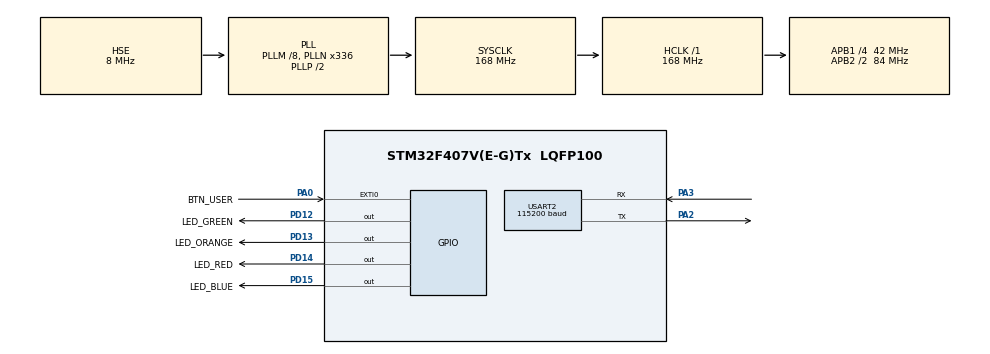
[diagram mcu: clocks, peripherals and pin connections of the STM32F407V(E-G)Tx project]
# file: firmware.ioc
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Dma.Request0=USART2_TX
Dma.USART2_TX.0.Direction=DMA_MEMORY_TO_PERIPH
Dma.USART2_TX.0.FIFOMode=DMA_FIFOMODE_DISABLE
Dma.USART2_TX.0.Instance=DMA1_Stream6
Dma.USART2_TX.0.MemDataAlignment=DMA_MDATAALIGN_BYTE
Dma.USART2_TX.0.MemInc=DMA_MINC_ENABLE
Dma.USART2_TX.0.Mode=DMA_NORMAL
Dma.USART2_TX.0.PeriphDataAlignment=DMA_PDATAALIGN_BYTE
Dma.USART2_TX.0.PeriphInc=DMA_PINC_DISABLE
Dma.USART2_TX.0.Priority=DMA_PRIORITY_LOW
FREERTOS.INCLUDE_uxTaskGetStackHighWaterMark=1
FREERTOS.Tasks01=defaultTask,24,128,StartDefaultTask,Default,NULL,Dynamic,NULL,NULL
FREERTOS.configCHECK_FOR_STACK_OVERFLOW=2
FREERTOS.configTICK_RATE_HZ=1000
FREERTOS.configTOTAL_HEAP_SIZE=20480
FREERTOS.configUSE_MALLOC_FAILED_HOOK=1
FREERTOS.configUSE_NEWLIB_REENTRANT=1
FREERTOS.configUSE_OS2_TIMER=0
FREERTOS.configUSE_TIMERS=0
Mcu.Family=STM32F4
Mcu.Name=STM32F407V(E-G)Tx
Mcu.Package=LQFP100
NVIC.DMA1_Stream6_IRQn=true\:5\:0\:false\:false\:true\:true\:false\:true\:true
NVIC.EXTI0_IRQn=true\:5\:0\:false\:false\:true\:true\:true\:true\:true
NVIC.PriorityGroup=NVIC_PRIORITYGROUP_4
NVIC.TIM6_DAC_IRQn=true\:15\:0\:false\:false\:true\:false\:false\:true\:true
NVIC.TimeBase=TIM6_DAC_IRQn
NVIC.TimeBaseIP=TIM6
NVIC.USART2_IRQn=true\:5\:0\:false\:false\:true\:true\:true\:true\:true
PA0-WKUP.GPIO_Label=BTN_USER
PA0-WKUP.GPIO_ModeDefaultEXTI=GPIO_MODE_IT_RISING
PA0-WKUP.GPIO_PuPd=GPIO_NOPULL
PA0-WKUP.Signal=GPXTI0
PA13.Mode=Serial_Wire
PA13.Signal=SYS_JTMS-SWDIO
PA14.Mode=Serial_Wire
PA14.Signal=SYS_JTCK-SWCLK
PA2.Mode=Asynchronous
PA2.Signal=USART2_TX
PA3.Mode=Asynchronous
PA3.Signal=USART2_RX
PD12.GPIO_Label=LED_GREEN
PD12.Signal=GPIO_Output
PD13.GPIO_Label=LED_ORANGE
PD13.Signal=GPIO_Output
PD14.GPIO_Label=LED_RED
PD14.Signal=GPIO_Output
PD15.GPIO_Label=LED_BLUE
PD15.Signal=GPIO_Output
PH0-OSC_IN.Mode=HSE-External-Oscillator
PH0-OSC_IN.Signal=RCC_OSC_IN
PH1-OSC_OUT.Mode=HSE-External-Oscillator
PH1-OSC_OUT.Signal=RCC_OSC_OUT
ProjectManager.HeapSize=0x200
ProjectManager.StackSize=0x400
ProjectManager.TargetToolchain=CMake
RCC.48MHZClocksFreq_Value=48000000
RCC.AHBFreq_Value=168000000
RCC.APB1CLKDivider=RCC_HCLK_DIV4
RCC.APB1Freq_Value=42000000
RCC.APB1TimFreq_Value=84000000
RCC.APB2CLKDivider=RCC_HCLK_DIV2
RCC.APB2Freq_Value=84000000
RCC.APB2TimFreq_Value=168000000
RCC.CortexFreq_Value=168000000
RCC.HCLKFreq_Value=168000000
RCC.HSE_VALUE=8000000
RCC.HSI_VALUE=16000000
RCC.LSE_VALUE=32768
RCC.PLLM=8
RCC.PLLN=336
RCC.PLLQ=7
RCC.PLLSourceVirtual=RCC_PLLSOURCE_HSE
RCC.SYSCLKFreq_VALUE=168000000
RCC.SYSCLKSource=RCC_SYSCLKSOURCE_PLLCLK
RCC.VCOOutputFreq_Value=336000000
TIM2.Period=4294967295
TIM2.Prescaler=83
USART2.BaudRate=115200
USART2.VirtualMode=VM_ASYNC
VP_FREERTOS_VS_CMSIS_V2.Mode=CMSIS_V2
VP_SYS_VS_tim6.Mode=TIM6
VP_TIM2_VS_ClockSourceINT.Mode=Internal
board=custom

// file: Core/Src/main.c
/* USER CODE BEGIN Header */
/**
  ******************************************************************************
  * @file           : main.c
  * @brief          : Main program body
  ******************************************************************************
  * @attention
  *
  * Copyright (c) 2026 STMicroelectronics.
  * All rights reserved.
  *
  * This software is licensed under terms that can be found in the LICENSE file
  * in the root directory of this software component.
  * If no LICENSE file comes with this software, it is provided AS-IS.
  *
  ******************************************************************************
  */
/* USER CODE END Header */
#include "main.h"
#include "cmsis_os.h"
#include "dma.h"
#include "tim.h"
#include "usart.h"
#include "gpio.h"

/* USER CODE BEGIN Includes */
#include "hw_selftest.h"
#include "app_tasks.h"
/* USER CODE END Includes */

void SystemClock_Config(void);
void MX_FREERTOS_Init(void);

int main(void)
{

  /* MCU Configuration--------------------------------------------------------*/

  /* Reset of all peripherals, Initializes the Flash interface and the Systick. */
  HAL_Init();

  /* Configure the system clock */
  SystemClock_Config();

  /* Initialize all configured peripherals */
  MX_GPIO_Init();
  MX_DMA_Init();
  MX_USART2_UART_Init();
  MX_TIM2_Init();
  /* USER CODE BEGIN 2 */
#if HW_SELFTEST
  /* Donanım öz-testi (T-03 / T-04). Burada çağrılmasının nedeni: çevre birimleri
   * kurulmuş, FreeRTOS ise henüz başlamamıştır. MX_FREERTOS_Init() içindeki
   * çekirdek çağrıları BASEPRI'yi yükseltip HAL tick kesmesini (öncelik 15)
   * maskeleyeceği için HAL_Delay() sonrasında kilitlenirdi. Geri dönmez. */
  hw_selftest_run();
#endif
  /* TIM2'yi başlat, kayıt defteri öz-testini koş (T-05). Scheduler öncesi. */
  app_init_early();
  /* USER CODE END 2 */

  /* Init scheduler */
  osKernelInitialize();  /* Call init function for freertos objects (in cmsis_os2.c) */
  MX_FREERTOS_Init();

  /* Start scheduler */
  osKernelStart();

  /* We should never get here as control is now taken by the scheduler */

  /* Infinite loop */
  while (1)
  {

  }
}

void SystemClock_Config(void)
{
  RCC_OscInitTypeDef RCC_OscInitStruct = {0};
  RCC_ClkInitTypeDef RCC_ClkInitStruct = {0};

  /** Configure the main internal regulator output voltage
  */
  __HAL_RCC_PWR_CLK_ENABLE();
  __HAL_PWR_VOLTAGESCALING_CONFIG(PWR_REGULATOR_VOLTAGE_SCALE1);

  /** Initializes the RCC Oscillators according to the specified parameters
  * in the RCC_OscInitTypeDef structure.
  */
  RCC_OscInitStruct.OscillatorType = RCC_OSCILLATORTYPE_HSE;
  RCC_OscInitStruct.HSEState = RCC_HSE_ON;
  RCC_OscInitStruct.PLL.PLLState = RCC_PLL_ON;
  RCC_OscInitStruct.PLL.PLLSource = RCC_PLLSOURCE_HSE;
  RCC_OscInitStruct.PLL.PLLM = 8;
  RCC_OscInitStruct.PLL.PLLN = 336;
  RCC_OscInitStruct.PLL.PLLP = RCC_PLLP_DIV2;
  RCC_OscInitStruct.PLL.PLLQ = 7;
  if (HAL_RCC_OscConfig(&RCC_OscInitStruct) != HAL_OK)
  {
    Error_Handler();
  }

  /** Initializes the CPU, AHB and APB buses clocks
  */
  RCC_ClkInitStruct.ClockType = RCC_CLOCKTYPE_HCLK|RCC_CLOCKTYPE_SYSCLK
                              |RCC_CLOCKTYPE_PCLK1|RCC_CLOCKTYPE_PCLK2;
  RCC_ClkInitStruct.SYSCLKSource = RCC_SYSCLKSOURCE_PLLCLK;
  RCC_ClkInitStruct.AHBCLKDivider = RCC_SYSCLK_DIV1;
  RCC_ClkInitStruct.APB1CLKDivider = RCC_HCLK_DIV4;
  RCC_ClkInitStruct.APB2CLKDivider = RCC_HCLK_DIV2;

  if (HAL_RCC_ClockConfig(&RCC_ClkInitStruct, FLASH_LATENCY_5) != HAL_OK)
  {
    Error_Handler();
  }
}

void HAL_TIM_PeriodElapsedCallback(TIM_HandleTypeDef *htim)
{
  if (htim->Instance == TIM6)
  {
    HAL_IncTick();
  }
}

void Error_Handler(void)
{
  __disable_irq();
  while (1)
  {
  }
}

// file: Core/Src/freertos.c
/* USER CODE BEGIN Header */
/**
  ******************************************************************************
  * File Name          : freertos.c
  * Description        : Code for freertos applications
  ******************************************************************************
  * @attention
  *
  * Copyright (c) 2026 STMicroelectronics.
  * All rights reserved.
  *
  * This software is licensed under terms that can be found in the LICENSE file
  * in the root directory of this software component.
  * If no LICENSE file comes with this software, it is provided AS-IS.
  *
  ******************************************************************************
  */
/* USER CODE END Header */

#include "FreeRTOS.h"
#include "task.h"
#include "main.h"
#include "cmsis_os.h"

/* USER CODE BEGIN Includes */
#include "app_tasks.h"
#include "app_diag.h"
/* USER CODE END Includes */

/* Definitions for defaultTask */
osThreadId_t defaultTaskHandle;
const osThreadAttr_t defaultTask_attributes = {
  .name = "defaultTask",
  .stack_size = 128 * 4,
  .priority = (osPriority_t) osPriorityNormal,
};

void StartDefaultTask(void *argument);

void MX_FREERTOS_Init(void); /* (MISRA C 2004 rule 8.1) */

/* Hook prototypes */
void vApplicationStackOverflowHook(xTaskHandle xTask, signed char *pcTaskName);
void vApplicationMallocFailedHook(void);

/* USER CODE BEGIN 4 */
/**
 * @brief   Stack taşması kancası (`configCHECK_FOR_STACK_OVERFLOW = 2`).
 * @param   xTask       Taşan görev.
 * @param   pcTaskName  Taşan görevin adı.
 * @ingroup diag
 *
 * Taşma sonrası bellek bozuk kabul edilir; sistem durdurulur. Kırmızı LED yanar
 * ve `g_diag.fault = 1` yazılır — sessiz bozulma yerine görünür durma. Bir ölçüm
 * koşusu bu durumda **geçersizdir**.
 */
void vApplicationStackOverflowHook(xTaskHandle xTask, signed char *pcTaskName)
{
  (void)xTask;
  (void)pcTaskName;
  g_diag.fault = 1u;
  taskDISABLE_INTERRUPTS();
  HAL_GPIO_WritePin(LED_RED_GPIO_Port, LED_RED_Pin, GPIO_PIN_SET);
  for (;;) { }
}
/* USER CODE END 4 */

/* USER CODE BEGIN 5 */
/**
 * @brief   Heap tükenme kancası (`configUSE_MALLOC_FAILED_HOOK = 1`).
 * @ingroup diag
 *
 * Görev veya kuyruk oluşturulamadı demektir. Kırmızı LED yanar,
 * `g_diag.fault = 2` yazılır ve sistem durur.
 */
void vApplicationMallocFailedHook(void)
{
  g_diag.fault = 2u;
  taskDISABLE_INTERRUPTS();
  HAL_GPIO_WritePin(LED_RED_GPIO_Port, LED_RED_Pin, GPIO_PIN_SET);
  for (;;) { }
}
/* USER CODE END 5 */

void MX_FREERTOS_Init(void) {

  /* Create the thread(s) */
  /* creation of defaultTask */
  defaultTaskHandle = osThreadNew(StartDefaultTask, NULL, &defaultTask_attributes);

  /* USER CODE BEGIN RTOS_THREADS */
  /* defaultTask burada SİLİNMEZ; ilk koşusunda kendini siler (bkz. StartDefaultTask
   * ve tasarım §13.3). Scheduler öncesi silmek onu "zombi" olarak çalıştırıyordu. */

  /* Kuyruklar ve üç uygulama görevi: TelemetryTask (3), ButtonTask (2),
   * UartTxTask (1) — native xTaskCreate ile (T-07). */
  app_create_rtos_objects();
  /* USER CODE END RTOS_THREADS */

}

void StartDefaultTask(void *argument)
{
  /* USER CODE BEGIN StartDefaultTask */
  /*
   * defaultTask kaldırma (FR-01: tam olarak 3 uygulama görevi).
   *
   * CubeMX, CMSIS-RTOS v2'de görev listesi boş olsa bile bu görevi öncelik 24
   * (osPriorityNormal) ile üretiyor; oluşturma satırı USER CODE dışında.
   *
   * Scheduler başlamadan önce dışarıdan silmek HATALIYDI (T-07'de g_diag
   * görev sayısını 5 gösterdi): FreeRTOS, scheduler öncesi pxCurrentTCB'yi en
   * yüksek öncelikli göreve, yani buna ayarlar. vTaskDelete() bunu "kendini
   * silen görev" sanıp yalnızca bekleme listesine koyar; bizim görevlerimiz
   * (öncelik 1-3) pxCurrentTCB'yi değiştirmediği için scheduler silinmiş görevi
   * başlatır ve osDelay(1) ile her 1 ms'de diğer görevleri kesen bir zombi olur.
   *
   * Doğrusu: scheduler başladığında en yüksek öncelikli olduğu için ilk bu görev
   * koşar ve burada kendini siler. Normal kendi-silme yolu işler; TCB ve stack'i
   * Idle görevi geri verir. Uygulama görevleri henüz hiç koşmamış olur.
   */
  vTaskDelete(NULL);
  /* USER CODE END StartDefaultTask */
}
